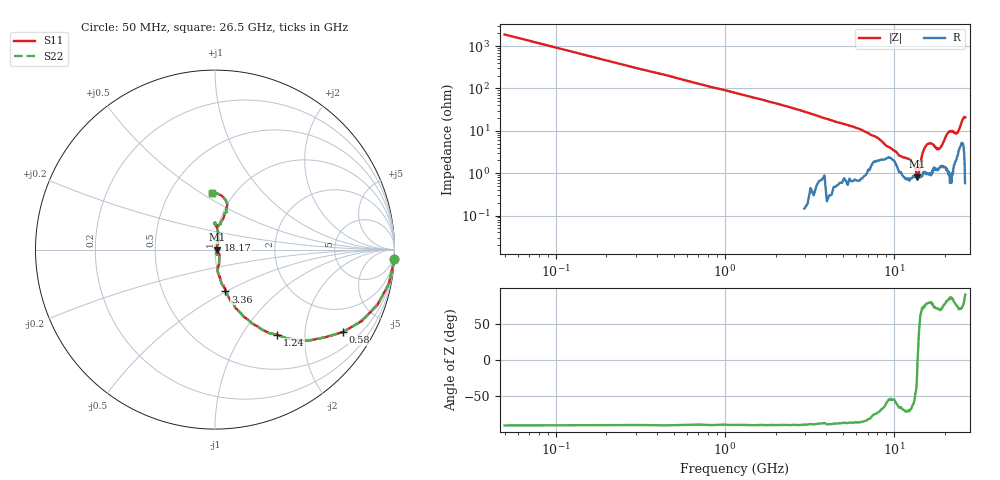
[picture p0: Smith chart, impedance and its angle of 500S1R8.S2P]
!  American Technical Ceramics  Date:  3/6/98
!  One Norden Lane
!  Huntington Station,  NY.  11746-2102
!  Tel:  (516) 547-5700  Fax:  (516) 547-5748
!  Part Number  500S1R8
!  Description: Broadband Microwave capacitor
!  Application:
# GHZ S DB R 50
! Freq  |S11|  S11 Ph  |S21|  S21 Ph  |S12|  S12 Ph  |S22|  S22 Ph
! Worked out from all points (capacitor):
!   201 points, 50 MHz to 26.5 GHz, reference 50 ohm
!   read as one part in series: C = 1.74 pF near 180 MHz
!   lowest |Z| = 828 mohm at 13.8 GHz (marker M1)
!   series resonance near 13.83 GHz, so ESL is about 76 pH
!   S11 on the Smith chart (normalised r, x): 50 MHz: -1, -39; 580 MHz: 0.96, -3.12; 1.24 GHz: 1.01, -1.46; 3.36 GHz: 1.00, -0.49; 18.17 GHz: 1.03, +0.11; 26.5 GHz: 0.79, +0.55
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0.05  0.01 -2.9  -25.50 88.0  -25.50 88.0  0.01 -2.9
0.18  -0.11 -11.1  -14.25 79.2  -14.25 79.2  -0.11 -11.1
0.58  -1.44 -32.9  -5.39 57.2  -5.39 57.2  -1.44 -32.9
1.24  -4.61 -53.7  -1.87 36.4  -1.87 36.4  -4.61 -53.7
3.36  -12.40 -76.1  -0.28 13.1  -0.28 13.1  -12.40 -76.1
4.55  -15.11 -79.5  -0.16 8.3  -0.16 8.3  -15.11 -79.5
6.79  -18.73 -83.0  -0.16 4.0  -0.16 4.0  -18.73 -83.0
8.91  -26.92 -58.2  -0.18 2.4  -0.18 2.4  -26.92 -58.2
10.76  -33.63 -61.5  -0.10 1.6  -0.10 1.6  -33.63 -61.5
12.61  -30.63 -68.5  -0.04 0.6  -0.04 0.6  -30.63 -68.5
13.28  -33.51 -58.1  -0.05 0.3  -0.05 0.3  -33.51 -58.1
13.8  -38.54 -4.5  -0.04 0.0  -0.04 0.0  -38.54 -4.5
14.73  -27.07 73.9  -0.05 -0.6  -0.05 -0.6  -27.07 73.9
15.39  -23.18 78.9  -0.09 -0.7  -0.09 -0.7  -23.18 78.9
16.58  -21.28 81.3  -0.08 -0.7  -0.08 -0.7  -21.28 81.3
17.77  -24.30 73.2  -0.08 -0.8  -0.08 -0.8  -24.30 73.2
18.17  -25.15 70.7  -0.08 -1.1  -0.08 -1.1  -25.15 70.7
18.83  -25.97 67.3  -0.10 -1.5  -0.10 -1.5  -25.97 67.3
20.81  -18.20 84.4  -0.21 -2.7  -0.21 -2.7  -18.20 84.4
22.14  -16.42 89.5  -0.33 -2.5  -0.33 -2.5  -16.42 89.5
23.86  -17.47 82.0  -0.40 -1.8  -0.40 -1.8  -17.47 82.0
26.5  -10.02 93.4  -0.87 -4.7  -0.87 -4.7  -10.02 93.4
